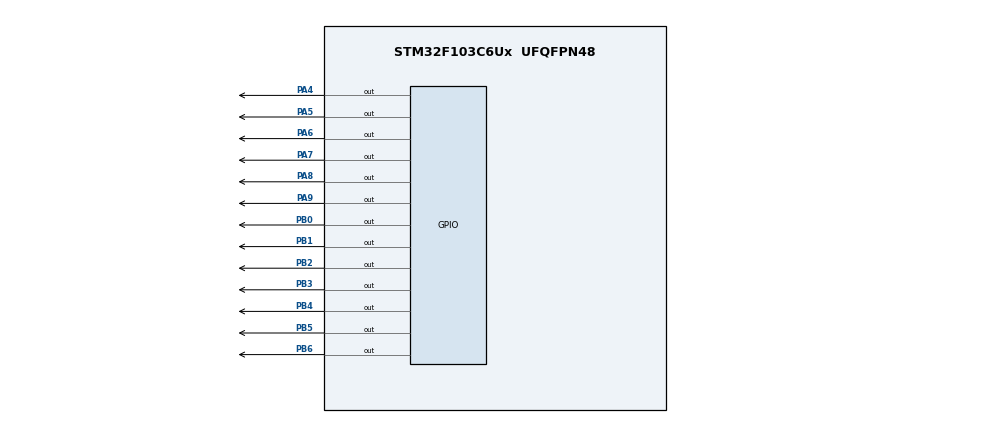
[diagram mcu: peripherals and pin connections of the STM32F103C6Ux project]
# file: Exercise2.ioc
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Mcu.Family=STM32F1
Mcu.Name=STM32F103C6Ux
Mcu.Package=UFQFPN48
NVIC.PriorityGroup=NVIC_PRIORITYGROUP_4
NVIC.TIM2_IRQn=true\:0\:0\:false\:false\:true\:true\:true
PA4.Signal=GPIO_Output
PA5.Signal=GPIO_Output
PA6.Signal=GPIO_Output
PA7.Signal=GPIO_Output
PA8.Signal=GPIO_Output
PA9.Signal=GPIO_Output
PB0.Signal=GPIO_Output
PB1.Signal=GPIO_Output
PB2.Signal=GPIO_Output
PB3.Signal=GPIO_Output
PB4.Signal=GPIO_Output
PB5.Signal=GPIO_Output
PB6.Signal=GPIO_Output
ProjectManager.HeapSize=0x200
ProjectManager.StackSize=0x400
ProjectManager.TargetToolchain=STM32CubeIDE
RCC.APB1Freq_Value=8000000
RCC.APB2Freq_Value=8000000
TIM2.Period=9
TIM2.Prescaler=7999
VP_SYS_VS_ND.Mode=No_Debug
VP_TIM2_VS_ClockSourceINT.Mode=Internal
board=custom

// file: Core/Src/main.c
/* USER CODE BEGIN Header */
/**
  ******************************************************************************
  * @file           : main.c
  * @brief          : Main program body
  ******************************************************************************
  * @attention
  *
  * <h2><center>&copy; Copyright (c) 2023 STMicroelectronics.
  * All rights reserved.</center></h2>
  *
  * This software component is licensed by ST under BSD 3-Clause license,
  * the "License"; You may not use this file except in compliance with the
  * License. You may obtain a copy of the License at:
  *                        opensource.org/licenses/BSD-3-Clause
  *
  ******************************************************************************
  */
/* USER CODE END Header */
#include "main.h"

TIM_HandleTypeDef htim2;

void SystemClock_Config(void);
static void MX_GPIO_Init(void);
static void MX_TIM2_Init(void);

int main(void)
{

  /* MCU Configuration--------------------------------------------------------*/

  /* Reset of all peripherals, Initializes the Flash interface and the Systick. */
  HAL_Init();

  /* Configure the system clock */
  SystemClock_Config();

  /* Initialize all configured peripherals */
  MX_GPIO_Init();
  MX_TIM2_Init();
  /* USER CODE BEGIN 2 */
  HAL_TIM_Base_Start_IT(&htim2);
  /* USER CODE END 2 */

  /* Infinite loop */
  while (1)
  {

  }
}

void SystemClock_Config(void)
{
  RCC_OscInitTypeDef RCC_OscInitStruct = {0};
  RCC_ClkInitTypeDef RCC_ClkInitStruct = {0};

  /** Initializes the RCC Oscillators according to the specified parameters
  * in the RCC_OscInitTypeDef structure.
  */
  RCC_OscInitStruct.OscillatorType = RCC_OSCILLATORTYPE_HSI;
  RCC_OscInitStruct.HSIState = RCC_HSI_ON;
  RCC_OscInitStruct.HSICalibrationValue = RCC_HSICALIBRATION_DEFAULT;
  RCC_OscInitStruct.PLL.PLLState = RCC_PLL_NONE;
  if (HAL_RCC_OscConfig(&RCC_OscInitStruct) != HAL_OK)
  {
    Error_Handler();
  }
  /** Initializes the CPU, AHB and APB buses clocks
  */
  RCC_ClkInitStruct.ClockType = RCC_CLOCKTYPE_HCLK|RCC_CLOCKTYPE_SYSCLK
                              |RCC_CLOCKTYPE_PCLK1|RCC_CLOCKTYPE_PCLK2;
  RCC_ClkInitStruct.SYSCLKSource = RCC_SYSCLKSOURCE_HSI;
  RCC_ClkInitStruct.AHBCLKDivider = RCC_SYSCLK_DIV1;
  RCC_ClkInitStruct.APB1CLKDivider = RCC_HCLK_DIV1;
  RCC_ClkInitStruct.APB2CLKDivider = RCC_HCLK_DIV1;

  if (HAL_RCC_ClockConfig(&RCC_ClkInitStruct, FLASH_LATENCY_0) != HAL_OK)
  {
    Error_Handler();
  }
}

static void MX_TIM2_Init(void)
{

  TIM_ClockConfigTypeDef sClockSourceConfig = {0};
  TIM_MasterConfigTypeDef sMasterConfig = {0};

  htim2.Instance = TIM2;
  htim2.Init.Prescaler = 7999;
  htim2.Init.CounterMode = TIM_COUNTERMODE_UP;
  htim2.Init.Period = 9;
  htim2.Init.ClockDivision = TIM_CLOCKDIVISION_DIV1;
  htim2.Init.AutoReloadPreload = TIM_AUTORELOAD_PRELOAD_DISABLE;
  if (HAL_TIM_Base_Init(&htim2) != HAL_OK)
  {
    Error_Handler();
  }
  sClockSourceConfig.ClockSource = TIM_CLOCKSOURCE_INTERNAL;
  if (HAL_TIM_ConfigClockSource(&htim2, &sClockSourceConfig) != HAL_OK)
  {
    Error_Handler();
  }
  sMasterConfig.MasterOutputTrigger = TIM_TRGO_RESET;
  sMasterConfig.MasterSlaveMode = TIM_MASTERSLAVEMODE_DISABLE;
  if (HAL_TIMEx_MasterConfigSynchronization(&htim2, &sMasterConfig) != HAL_OK)
  {
    Error_Handler();
  }

}

static void MX_GPIO_Init(void)
{
  GPIO_InitTypeDef GPIO_InitStruct = {0};

  /* GPIO Ports Clock Enable */
  __HAL_RCC_GPIOA_CLK_ENABLE();
  __HAL_RCC_GPIOB_CLK_ENABLE();

  /*Configure GPIO pin Output Level */
  HAL_GPIO_WritePin(GPIOA, GPIO_PIN_4|GPIO_PIN_5|GPIO_PIN_6|GPIO_PIN_7
                          |GPIO_PIN_8|GPIO_PIN_9, GPIO_PIN_RESET);

  /*Configure GPIO pin Output Level */
  HAL_GPIO_WritePin(GPIOB, GPIO_PIN_0|GPIO_PIN_1|GPIO_PIN_2|GPIO_PIN_3
                          |GPIO_PIN_4|GPIO_PIN_5|GPIO_PIN_6, GPIO_PIN_RESET);

  /*Configure GPIO pins : PA4 PA5 PA6 PA7
                           PA8 PA9 */
  GPIO_InitStruct.Pin = GPIO_PIN_4|GPIO_PIN_5|GPIO_PIN_6|GPIO_PIN_7
                          |GPIO_PIN_8|GPIO_PIN_9;
  GPIO_InitStruct.Mode = GPIO_MODE_OUTPUT_PP;
  GPIO_InitStruct.Pull = GPIO_NOPULL;
  GPIO_InitStruct.Speed = GPIO_SPEED_FREQ_LOW;
  HAL_GPIO_Init(GPIOA, &GPIO_InitStruct);

  /*Configure GPIO pins : PB0 PB1 PB2 PB3
                           PB4 PB5 PB6 */
  GPIO_InitStruct.Pin = GPIO_PIN_0|GPIO_PIN_1|GPIO_PIN_2|GPIO_PIN_3
                          |GPIO_PIN_4|GPIO_PIN_5|GPIO_PIN_6;
  GPIO_InitStruct.Mode = GPIO_MODE_OUTPUT_PP;
  GPIO_InitStruct.Pull = GPIO_NOPULL;
  GPIO_InitStruct.Speed = GPIO_SPEED_FREQ_LOW;
  HAL_GPIO_Init(GPIOB, &GPIO_InitStruct);

}

void display7SEG(int counter) {
	unsigned char disp_arr[10] = {0x40, 0x79, 0x24, 0x30, 0x19, 0x12, 0x02, 0x78, 0x00, 0x10};
	unsigned char bit_var, varr = disp_arr[counter];

	bit_var = varr & 0x01; /* Den P1 */
	HAL_GPIO_WritePin(GPIOB, GPIO_PIN_0, bit_var);

	bit_var = (varr>>1) & 0x01; /* Den P2 */
	HAL_GPIO_WritePin(GPIOB, GPIO_PIN_1, bit_var);

	bit_var = (varr>>2) & 0x01; /* Den P3 */
	HAL_GPIO_WritePin(GPIOB, GPIO_PIN_2, bit_var);

	bit_var = (varr>>3) & 0x01; /* Den P4 */
	HAL_GPIO_WritePin(GPIOB, GPIO_PIN_3, bit_var);

	bit_var = (varr>>4) & 0x01; /* Den P5 */
	HAL_GPIO_WritePin(GPIOB, GPIO_PIN_4, bit_var);

	bit_var = (varr>>5) & 0x01; /* Den P6 */
	HAL_GPIO_WritePin(GPIOB, GPIO_PIN_5, bit_var);

	bit_var = (varr>>6) & 0x01; /* Den P7 */
	HAL_GPIO_WritePin(GPIOB, GPIO_PIN_6, bit_var);
}

/* USER CODE BEGIN 4 */
int counter_dot = 100;
int counter = 200;
void HAL_TIM_PeriodElapsedCallback(TIM_HandleTypeDef * htim)
{
	if( counter_dot <= 0){
		counter_dot = 100;
		HAL_GPIO_TogglePin ( GPIOA, GPIO_PIN_5);
		HAL_GPIO_TogglePin ( GPIOA, GPIO_PIN_4);
	}
	counter_dot--;
	if(counter == 200){
		HAL_GPIO_WritePin(GPIOA, GPIO_PIN_6, 0);
		HAL_GPIO_WritePin(GPIOA, GPIO_PIN_7, 1);
		HAL_GPIO_WritePin(GPIOA, GPIO_PIN_8, 1);
		HAL_GPIO_WritePin(GPIOA, GPIO_PIN_9, 1);
		display7SEG(1);
	}
	else if (counter == 150){
		HAL_GPIO_WritePin(GPIOA, GPIO_PIN_6, 1);
		HAL_GPIO_WritePin(GPIOA, GPIO_PIN_7, 0);
		HAL_GPIO_WritePin(GPIOA, GPIO_PIN_8, 1);
		HAL_GPIO_WritePin(GPIOA, GPIO_PIN_9, 1);
		display7SEG(2);
	}
	else if (counter == 100){
		HAL_GPIO_WritePin(GPIOA, GPIO_PIN_6, 1);
		HAL_GPIO_WritePin(GPIOA, GPIO_PIN_7, 1);
		HAL_GPIO_WritePin(GPIOA, GPIO_PIN_8, 0);
		HAL_GPIO_WritePin(GPIOA, GPIO_PIN_9, 1);
		display7SEG(3);
	}
	else if (counter == 50){
		HAL_GPIO_WritePin(GPIOA, GPIO_PIN_6, 1);
		HAL_GPIO_WritePin(GPIOA, GPIO_PIN_7, 1);
		HAL_GPIO_WritePin(GPIOA, GPIO_PIN_8, 1);
		HAL_GPIO_WritePin(GPIOA, GPIO_PIN_9, 0);
		display7SEG(0);
	}
	counter--;
	if(counter <= 0){
		counter = 200;
	}
}

/* USER CODE END 4 */

void Error_Handler(void)
{
  __disable_irq();
  while (1)
  {
  }
}

/************************ (C) COPYRIGHT STMicroelectronics *****END OF FILE****/
